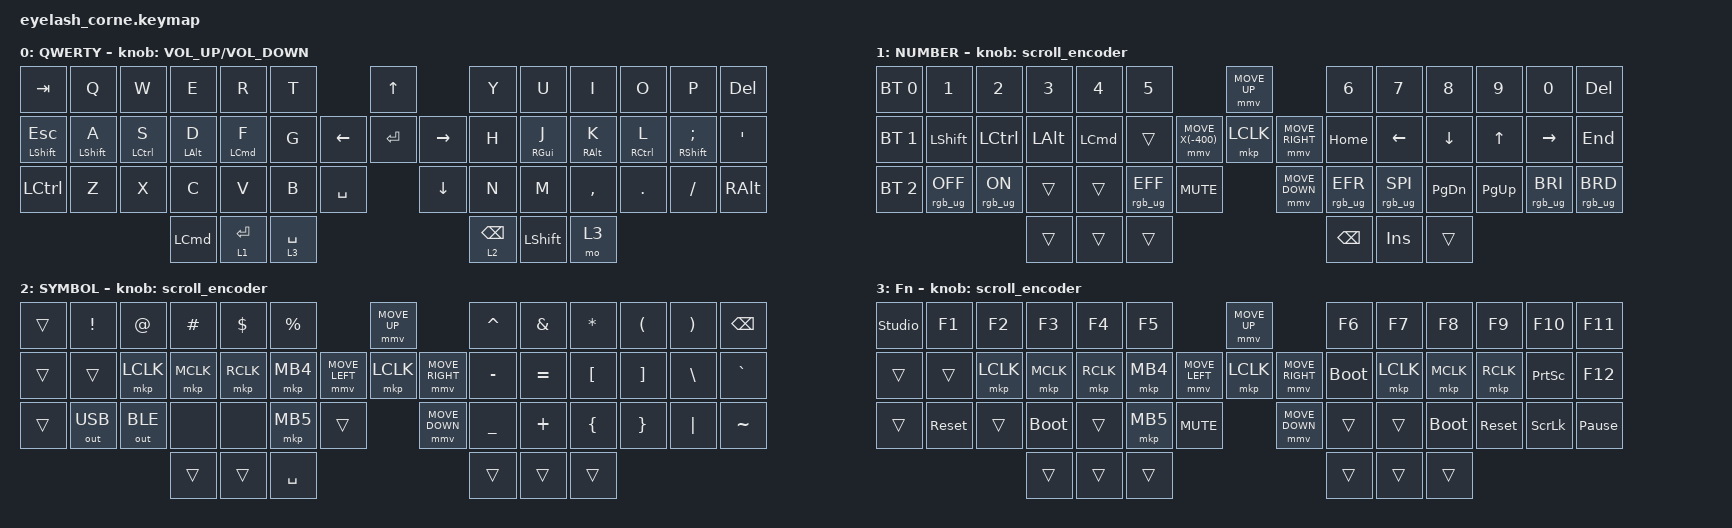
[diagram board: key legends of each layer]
#include <dt-bindings/zmk/mouse.h>
#include <input/processors.dtsi>
#include <behaviors.dtsi>
#include <dt-bindings/zmk/bt.h>
#include <dt-bindings/zmk/keys.h>
#include <dt-bindings/zmk/outputs.h>
#include <dt-bindings/zmk/pointing.h>
#include <dt-bindings/zmk/pointing.h>
#include <dt-bindings/zmk/pointing.h>
#include <dt-bindings/zmk/rgb.h>

/*

   &mmv_input_listener {
       input-processors = <&zip_xy_scaler 2 1>;
   };

   &msc_input_listener {
       input-processors = <&zip_xy_scaler 2 1>;
   };

 */

#define ZMK_MOUSE_DEFAULT_MOVE_VAL 1200  // 600
#define ZMK_MOUSE_DEFAULT_SCRL_VAL 20    // 10

/ {
    behaviors {
        td0: td0 {
            compatible = "zmk,behavior-tap-dance";
            display-name = "Shift/Caps Lock Tap Dance";
            #binding-cells = <0>;
            bindings = <&kp LEFT_SHIFT>, <&kp CAPS>;
        };

        hml: homewrow_mods_left {
            compatible = "zmk,behavior-hold-tap";
            label = "HOMEROW_MODS_LEFT_HAND";
            bindings = <&kp>, <&kp>;

            #binding-cells = <2>;
            tapping-term-ms = <280>;
            hold-trigger-key-positions = <45 47 46 36 22 26 27 41 12 7 8 9 10 11 12 22 23 24 25 26 27 36 37 38 39 40 41 46 47>;
            hold-trigger-on-release;
            quick-tap-ms = <175>;
            require-prior-idle-ms = <150>;
            flavor = "balanced";
        };

        hmr: homewrow_mods_right {
            compatible = "zmk,behavior-hold-tap";
            label = "HOMEROW_MODS_RIGHT_HAND";
            bindings = <&kp>, <&kp>;

            #binding-cells = <2>;
            tapping-term-ms = <280>;
            hold-trigger-key-positions = <0 1 2 3 4 5 13 14 15 16 17 18 28 29 30 31 32 33 34 42 43 44>;
            flavor = "balanced";
            quick-tap-ms = <175>;
            require-prior-idle-ms = <150>;
            hold-trigger-on-release;
        };

        as_ht: autoshift_hold_tap {
            compatible = "zmk,behavior-hold-tap";
            label = "AUTOSHIFT_HOLD_TAP";
            bindings = <&shift>, <&kp>;

            #binding-cells = <2>;
            tapping-term-ms = <190>;
        };
    };

    rgb_encoder: rgb_encoder {
        compatible = "zmk,behavior-sensor-rotate";
        #sensor-binding-cells = <0>;
        bindings = <&rgb_ug RGB_BRI>, <&rgb_ug RGB_BRD>;
    };

    scroll_encoder: scroll_encoder {
        compatible = "zmk,behavior-sensor-rotate";
        #sensor-binding-cells = <0>;
        bindings = <&msc SCRL_DOWN>, <&msc SCRL_UP>;

        tap-ms = <30>;
    };

    macros {
        shift: with_lshift {
            compatible = "zmk,behavior-macro-one-param";
            #binding-cells = <1>;
            bindings =
                <&macro_press>,
                <&kp LEFT_SHIFT>,
                <&macro_tap>,
                <&macro_param_1to1 &kp MACRO_PLACEHOLDER>,
                <&macro_release>,
                <&kp LEFT_SHIFT>;

            label = "KEY_PRESS_WITH_LEFT_SHIFT_MODIFIER";
        };
    };

    keymap {
        compatible = "zmk,keymap";

        default_layer {
            display-name = "QWERTY";
            bindings = <
&kp TAB             &kp Q              &kp W                &kp E             &kp R        &kp T                               &kp UP                &kp Y            &kp U             &kp I             &kp O                 &kp P                       &kp DELETE
&mt LEFT_SHIFT ESC  &hml LEFT_SHIFT A  &hml LEFT_CONTROL S  &hml LEFT_ALT D   &hml LCMD F  &kp G                     &kp LEFT  &kp ENTER  &kp RIGHT  &kp H            &hmr RIGHT_GUI J  &hmr RIGHT_ALT K  &hmr RIGHT_CONTROL L  &hmr RIGHT_SHIFT SEMICOLON  &kp SQT
&kp LCTRL           &kp Z              &kp X                &kp C             &kp V        &kp B        &kp SPACE              &kp DOWN              &kp N            &kp M             &kp COMMA         &kp DOT               &kp FSLH                    &kp RIGHT_ALT
                                                            &kp LEFT_COMMAND  &lt 1 ENTER  &lt 3 SPACE                                               &lt 2 BACKSPACE  &kp LEFT_SHIFT    &mo 3
            >;

            sensor-bindings = <&inc_dec_kp C_VOLUME_UP C_VOLUME_DOWN>;
        };

        lower_layer {
            display-name = "NUMBER";
            bindings = <
&bt BT_SEL 0  &kp N1           &kp N2            &kp N3        &kp N4            &kp N5                                            &mmv MOVE_UP                     &kp N6           &kp N7           &kp N8         &kp N9        &kp N0           &kp DELETE
&bt BT_SEL 1  &kp LEFT_SHIFT   &kp LEFT_CONTROL  &kp LEFT_ALT  &kp LEFT_COMMAND  &trans                         &mmv MOVE_X(-400)  &mkp LCLK       &mmv MOVE_RIGHT  &kp HOME         &kp LEFT         &kp DOWN       &kp UP_ARROW  &kp RIGHT        &kp END
&bt BT_SEL 2  &rgb_ug RGB_OFF  &rgb_ug RGB_ON    &trans        &trans            &rgb_ug RGB_EFF  &kp C_MUTE                       &mmv MOVE_DOWN                   &rgb_ug RGB_EFR  &rgb_ug RGB_SPI  &kp PAGE_DOWN  &kp PAGE_UP   &rgb_ug RGB_BRI  &rgb_ug RGB_BRD
                                                 &trans        &trans            &trans                                                                             &kp BACKSPACE    &kp INSERT       &trans
            >;

            sensor-bindings = <&scroll_encoder>;
        };

        raise_layer {
            display-name = "SYMBOL";
            bindings = <
&trans  &kp EXCL      &kp AT        &kp HASH   &kp DLLR   &kp PRCNT                            &mmv MOVE_UP                     &kp CARET  &kp AMPS   &kp ASTRK  &kp LPAR  &kp RPAR  &kp BSPC
&trans  &trans        &mkp LCLK     &mkp MCLK  &mkp RCLK  &mkp MB4             &mmv MOVE_LEFT  &mkp LCLK       &mmv MOVE_RIGHT  &kp MINUS  &kp EQUAL  &kp LBKT   &kp RBKT  &kp BSLH  &kp GRAVE
&trans  &out OUT_USB  &out OUT_BLE  &none      &none      &mkp MB5   &trans                    &mmv MOVE_DOWN                   &kp UNDER  &kp PLUS   &kp LBRC   &kp RBRC  &kp PIPE  &kp TILDE
                                    &trans     &trans     &kp SPACE                                                             &trans     &trans     &trans
            >;

            sensor-bindings = <&scroll_encoder>;
        };

        layer_3 {
            display-name = "Fn";
            bindings = <
&studio_unlock  &kp F1      &kp F2     &kp F3       &kp F4     &kp F5                                  &mmv MOVE_UP                     &kp F6       &kp F7     &kp F8       &kp F9      &kp F10          &kp F11
&trans          &trans      &mkp LCLK  &mkp MCLK    &mkp RCLK  &mkp MB4                &mmv MOVE_LEFT  &mkp LCLK       &mmv MOVE_RIGHT  &bootloader  &mkp LCLK  &mkp MCLK    &mkp RCLK   &kp PRINTSCREEN  &kp F12
&trans          &sys_reset  &trans     &bootloader  &trans     &mkp MB5  &kp C_MUTE                    &mmv MOVE_DOWN                   &trans       &trans     &bootloader  &sys_reset  &kp SCROLLLOCK   &kp PAUSE_BREAK
                                       &trans       &trans     &trans                                                                   &trans       &trans     &trans
            >;

            sensor-bindings = <&scroll_encoder>;
        };
    };
};
